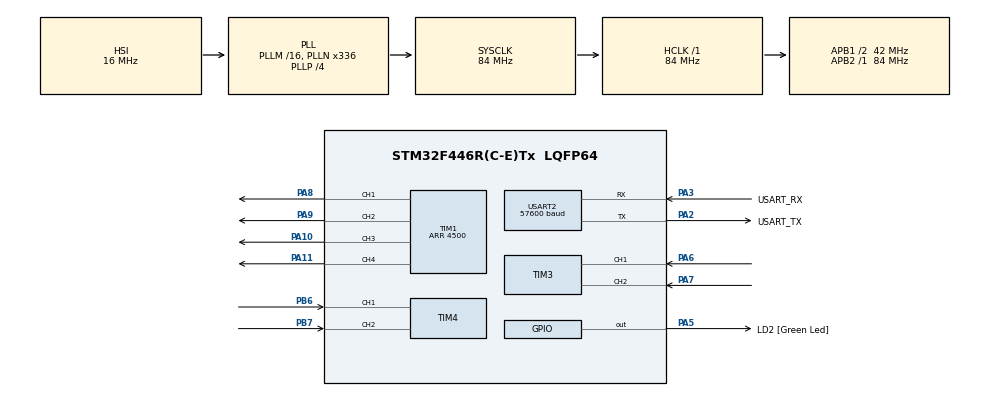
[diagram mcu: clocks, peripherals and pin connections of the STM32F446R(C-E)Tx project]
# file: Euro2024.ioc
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Dma.Request0=USART2_RX
Dma.Request1=USART2_TX
Dma.USART2_RX.0.Direction=DMA_PERIPH_TO_MEMORY
Dma.USART2_RX.0.FIFOMode=DMA_FIFOMODE_DISABLE
Dma.USART2_RX.0.Instance=DMA1_Stream5
Dma.USART2_RX.0.MemDataAlignment=DMA_MDATAALIGN_BYTE
Dma.USART2_RX.0.MemInc=DMA_MINC_ENABLE
Dma.USART2_RX.0.Mode=DMA_CIRCULAR
Dma.USART2_RX.0.PeriphDataAlignment=DMA_PDATAALIGN_BYTE
Dma.USART2_RX.0.PeriphInc=DMA_PINC_DISABLE
Dma.USART2_RX.0.Priority=DMA_PRIORITY_HIGH
Dma.USART2_TX.1.Direction=DMA_MEMORY_TO_PERIPH
Dma.USART2_TX.1.FIFOMode=DMA_FIFOMODE_DISABLE
Dma.USART2_TX.1.Instance=DMA1_Stream6
Dma.USART2_TX.1.MemDataAlignment=DMA_MDATAALIGN_BYTE
Dma.USART2_TX.1.MemInc=DMA_MINC_ENABLE
Dma.USART2_TX.1.Mode=DMA_NORMAL
Dma.USART2_TX.1.PeriphDataAlignment=DMA_PDATAALIGN_BYTE
Dma.USART2_TX.1.PeriphInc=DMA_PINC_DISABLE
Dma.USART2_TX.1.Priority=DMA_PRIORITY_HIGH
Mcu.Family=STM32F4
Mcu.Name=STM32F446R(C-E)Tx
Mcu.Package=LQFP64
NVIC.DMA1_Stream5_IRQn=true\:0\:0\:false\:false\:true\:false\:true\:true
NVIC.DMA1_Stream6_IRQn=true\:0\:0\:false\:false\:true\:false\:true\:true
NVIC.PriorityGroup=NVIC_PRIORITYGROUP_0
NVIC.TIM7_IRQn=true\:0\:0\:false\:false\:true\:true\:true\:true
NVIC.USART2_IRQn=true\:0\:0\:false\:false\:true\:true\:true\:true
PA10.Signal=S_TIM1_CH3
PA11.Signal=S_TIM1_CH4
PA13.GPIO_Label=TMS
PA13.Mode=Serial_Wire
PA13.Signal=SYS_JTMS-SWDIO
PA14.GPIO_Label=TCK
PA14.Mode=Serial_Wire
PA14.Signal=SYS_JTCK-SWCLK
PA2.GPIO_Label=USART_TX
PA2.Mode=Asynchronous
PA2.Signal=USART2_TX
PA3.GPIO_Label=USART_RX
PA3.Mode=Asynchronous
PA3.Signal=USART2_RX
PA5.GPIO_Label=LD2 [Green Led]
PA5.Signal=GPIO_Output
PA6.GPIO_PuPd=GPIO_PULLUP
PA6.Signal=S_TIM3_CH1
PA7.GPIO_PuPd=GPIO_PULLUP
PA7.Signal=S_TIM3_CH2
PA8.Signal=S_TIM1_CH1
PA9.Signal=S_TIM1_CH2
PB3.GPIO_Label=SWO
PB3.Signal=SYS_JTDO-SWO
PB6.GPIO_PuPd=GPIO_PULLUP
PB6.Signal=S_TIM4_CH1
PB7.GPIO_PuPd=GPIO_PULLUP
PB7.Signal=S_TIM4_CH2
ProjectManager.HeapSize=0x200
ProjectManager.StackSize=0x400
ProjectManager.TargetToolchain=STM32CubeIDE
RCC.48MHZClocksFreq_Value=84000000
RCC.AHBFreq_Value=84000000
RCC.APB1CLKDivider=RCC_HCLK_DIV2
RCC.APB1Freq_Value=42000000
RCC.APB1TimFreq_Value=84000000
RCC.APB2Freq_Value=84000000
RCC.APB2TimFreq_Value=84000000
RCC.CortexFreq_Value=84000000
RCC.FLatency-AdvancedSettings=FLASH_LATENCY_2
RCC.HCLKFreq_Value=84000000
RCC.HSE_VALUE=8000000
RCC.HSI_VALUE=16000000
RCC.PLLN=336
RCC.PLLP=RCC_PLLP_DIV4
RCC.SYSCLKFreq_VALUE=84000000
RCC.SYSCLKSource=RCC_SYSCLKSOURCE_PLLCLK
RCC.USBFreq_Value=168000000
RCC.VCOOutputFreq_Value=336000000
SH.S_TIM1_CH1.0=TIM1_CH1,PWM Generation1 CH1
SH.S_TIM1_CH2.0=TIM1_CH2,PWM Generation2 CH2
SH.S_TIM1_CH3.0=TIM1_CH3,PWM Generation3 CH3
SH.S_TIM1_CH4.0=TIM1_CH4,PWM Generation4 CH4
SH.S_TIM3_CH1.0=TIM3_CH1,Encoder_Interface
SH.S_TIM3_CH2.0=TIM3_CH2,Encoder_Interface
SH.S_TIM4_CH1.0=TIM4_CH1,Encoder_Interface
SH.S_TIM4_CH2.0=TIM4_CH2,Encoder_Interface
TIM1.Channel-PWM\ Generation1\ CH1=TIM_CHANNEL_1
TIM1.Channel-PWM\ Generation2\ CH2=TIM_CHANNEL_2
TIM1.Channel-PWM\ Generation3\ CH3=TIM_CHANNEL_3
TIM1.Channel-PWM\ Generation4\ CH4=TIM_CHANNEL_4
TIM1.Period=4500
TIM3.EncoderMode=TIM_ENCODERMODE_TI12
TIM4.EncoderMode=TIM_ENCODERMODE_TI12
TIM7.Period=999
TIM7.Prescaler=83
USART2.BaudRate=57600
USART2.VirtualMode=VM_ASYNC
VP_TIM1_VS_ClockSourceINT.Mode=Internal
VP_TIM7_VS_ClockSourceINT.Mode=Enable_Timer
board=NUCLEO-F446RE

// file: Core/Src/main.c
/* USER CODE BEGIN Header */
/**
  ******************************************************************************
  * @file           : main.c
  * @brief          : Main program body
  ******************************************************************************
  * @attention
  *
  * Copyright (c) 2024 STMicroelectronics.
  * All rights reserved.
  *
  * This software is licensed under terms that can be found in the LICENSE file
  * in the root directory of this software component.
  * If no LICENSE file comes with this software, it is provided AS-IS.
  *
  ******************************************************************************
  */
/* USER CODE END Header */
#include "main.h"

/* USER CODE BEGIN Includes */
#include "Odometry.h"
#include "Robot_Navi_Euro20.h"
#include "Motors.h"
#include <stdbool.h>
#include "stmRos.h"

extern int sum;
extern bool evitementFlag;
extern volatile float current_x;
extern volatile float current_y;
extern volatile float left_radius,right_radius,spacing_encoder,spacing_wheel;

extern float** matrix;
int taille;
extern float Vx;
extern float Vz;
float PWMR,PWML,PWM_linear,PWM_angular;
int PWM;
int PWM_Min=950;
extern uint32_t right_forward;
extern uint32_t right_backward;
extern uint32_t left_forward;
extern uint32_t left_backward;
extern TIM_HandleTypeDef* htim_Motors;

extern int right_correction,left_correction;
extern volatile float total_right,d_right_counter;
extern volatile float total_left,d_left_counter,total_centre;
extern int PWM_LB,PWM_RB;
extern int coef_correct_dist;
extern volatile long total_right_count;
extern volatile long total_left_count;
extern float test;

extern volatile float spacing_wheel;

double right_error1=0;
double i_right_error1=0;
double left_error1=0;
double i_left_error1=0;

extern float kp, ki;
float kpros=2, kiros=0;
extern volatile double left_speed,left_encoder_speed;
extern volatile double right_speed,right_encoder_speed;
extern volatile long t;
unsigned long long int delta=0,t0=0;
extern int PWM_L,PWM_R;
extern int i ;
extern char buf[64];

extern double v_rx ;
extern double omega_r ;

/* USER CODE END Includes */

TIM_HandleTypeDef htim1;
TIM_HandleTypeDef htim3;
TIM_HandleTypeDef htim4;
TIM_HandleTypeDef htim7;

UART_HandleTypeDef huart2;
DMA_HandleTypeDef hdma_usart2_rx;
DMA_HandleTypeDef hdma_usart2_tx;

void SystemClock_Config(void);
static void MX_GPIO_Init(void);
static void MX_DMA_Init(void);
static void MX_USART2_UART_Init(void);
static void MX_TIM1_Init(void);
static void MX_TIM3_Init(void);
static void MX_TIM4_Init(void);
static void MX_TIM7_Init(void);

int main(void)
{

  /* MCU Configuration--------------------------------------------------------*/

  /* Reset of all peripherals, Initializes the Flash interface and the Systick. */
  HAL_Init();

  /* Configure the system clock */
  SystemClock_Config();

  /* Initialize all configured peripherals */
  MX_GPIO_Init();
  MX_DMA_Init();
  MX_USART2_UART_Init();
  MX_TIM1_Init();
  MX_TIM3_Init();
  MX_TIM4_Init();
  MX_TIM7_Init();
  /* USER CODE BEGIN 2 */

  set_dimentions(40.58023,40.3802,252.5,131);//40.36836,40.59922,246,108.45 ROBOT SGHIR //40.36836,40.59922,265,120.2 ROBOT PRINCIPAL
         set_motors(&htim1,4499,TIM_CHANNEL_1,TIM_CHANNEL_2,TIM_CHANNEL_4,TIM_CHANNEL_3);
         set_right_encoder(&htim3,TIM3,400,4,1);//400 ROBOT KBIR
         set_left_encoder(&htim4,TIM4,400,4,-1);
         HAL_TIM_Base_Start_IT(&htim7);
         set_PWM_min (900,900,900,900);

         setup();

   /*  PWM_L=1000;
     PWM_R=1000;

     run_motors();

HAL_Delay(5000);
stop_motors();
*/
      /*   HAL_Delay(2000);
         move_distance(500, 300);
         HAL_Delay(1000);
         move_distance(-500, 300);
*/
  /* USER CODE END 2 */

  /* Infinite loop */
  while (1)
  {
		 loop();
  }
}

void SystemClock_Config(void)
{
  RCC_OscInitTypeDef RCC_OscInitStruct = {0};
  RCC_ClkInitTypeDef RCC_ClkInitStruct = {0};

  /** Configure the main internal regulator output voltage
  */
  __HAL_RCC_PWR_CLK_ENABLE();
  __HAL_PWR_VOLTAGESCALING_CONFIG(PWR_REGULATOR_VOLTAGE_SCALE3);

  /** Initializes the RCC Oscillators according to the specified parameters
  * in the RCC_OscInitTypeDef structure.
  */
  RCC_OscInitStruct.OscillatorType = RCC_OSCILLATORTYPE_HSI;
  RCC_OscInitStruct.HSIState = RCC_HSI_ON;
  RCC_OscInitStruct.HSICalibrationValue = RCC_HSICALIBRATION_DEFAULT;
  RCC_OscInitStruct.PLL.PLLState = RCC_PLL_ON;
  RCC_OscInitStruct.PLL.PLLSource = RCC_PLLSOURCE_HSI;
  RCC_OscInitStruct.PLL.PLLM = 16;
  RCC_OscInitStruct.PLL.PLLN = 336;
  RCC_OscInitStruct.PLL.PLLP = RCC_PLLP_DIV4;
  RCC_OscInitStruct.PLL.PLLQ = 2;
  RCC_OscInitStruct.PLL.PLLR = 2;
  if (HAL_RCC_OscConfig(&RCC_OscInitStruct) != HAL_OK)
  {
    Error_Handler();
  }

  /** Initializes the CPU, AHB and APB buses clocks
  */
  RCC_ClkInitStruct.ClockType = RCC_CLOCKTYPE_HCLK|RCC_CLOCKTYPE_SYSCLK
                              |RCC_CLOCKTYPE_PCLK1|RCC_CLOCKTYPE_PCLK2;
  RCC_ClkInitStruct.SYSCLKSource = RCC_SYSCLKSOURCE_PLLCLK;
  RCC_ClkInitStruct.AHBCLKDivider = RCC_SYSCLK_DIV1;
  RCC_ClkInitStruct.APB1CLKDivider = RCC_HCLK_DIV2;
  RCC_ClkInitStruct.APB2CLKDivider = RCC_HCLK_DIV1;

  if (HAL_RCC_ClockConfig(&RCC_ClkInitStruct, FLASH_LATENCY_2) != HAL_OK)
  {
    Error_Handler();
  }
}

static void MX_TIM1_Init(void)
{

  TIM_ClockConfigTypeDef sClockSourceConfig = {0};
  TIM_MasterConfigTypeDef sMasterConfig = {0};
  TIM_OC_InitTypeDef sConfigOC = {0};
  TIM_BreakDeadTimeConfigTypeDef sBreakDeadTimeConfig = {0};

  htim1.Instance = TIM1;
  htim1.Init.Prescaler = 0;
  htim1.Init.CounterMode = TIM_COUNTERMODE_UP;
  htim1.Init.Period = 4500;
  htim1.Init.ClockDivision = TIM_CLOCKDIVISION_DIV1;
  htim1.Init.RepetitionCounter = 0;
  htim1.Init.AutoReloadPreload = TIM_AUTORELOAD_PRELOAD_DISABLE;
  if (HAL_TIM_Base_Init(&htim1) != HAL_OK)
  {
    Error_Handler();
  }
  sClockSourceConfig.ClockSource = TIM_CLOCKSOURCE_INTERNAL;
  if (HAL_TIM_ConfigClockSource(&htim1, &sClockSourceConfig) != HAL_OK)
  {
    Error_Handler();
  }
  if (HAL_TIM_PWM_Init(&htim1) != HAL_OK)
  {
    Error_Handler();
  }
  sMasterConfig.MasterOutputTrigger = TIM_TRGO_RESET;
  sMasterConfig.MasterSlaveMode = TIM_MASTERSLAVEMODE_DISABLE;
  if (HAL_TIMEx_MasterConfigSynchronization(&htim1, &sMasterConfig) != HAL_OK)
  {
    Error_Handler();
  }
  sConfigOC.OCMode = TIM_OCMODE_PWM1;
  sConfigOC.Pulse = 0;
  sConfigOC.OCPolarity = TIM_OCPOLARITY_HIGH;
  sConfigOC.OCNPolarity = TIM_OCNPOLARITY_HIGH;
  sConfigOC.OCFastMode = TIM_OCFAST_DISABLE;
  sConfigOC.OCIdleState = TIM_OCIDLESTATE_RESET;
  sConfigOC.OCNIdleState = TIM_OCNIDLESTATE_RESET;
  if (HAL_TIM_PWM_ConfigChannel(&htim1, &sConfigOC, TIM_CHANNEL_1) != HAL_OK)
  {
    Error_Handler();
  }
  if (HAL_TIM_PWM_ConfigChannel(&htim1, &sConfigOC, TIM_CHANNEL_2) != HAL_OK)
  {
    Error_Handler();
  }
  if (HAL_TIM_PWM_ConfigChannel(&htim1, &sConfigOC, TIM_CHANNEL_3) != HAL_OK)
  {
    Error_Handler();
  }
  if (HAL_TIM_PWM_ConfigChannel(&htim1, &sConfigOC, TIM_CHANNEL_4) != HAL_OK)
  {
    Error_Handler();
  }
  sBreakDeadTimeConfig.OffStateRunMode = TIM_OSSR_DISABLE;
  sBreakDeadTimeConfig.OffStateIDLEMode = TIM_OSSI_DISABLE;
  sBreakDeadTimeConfig.LockLevel = TIM_LOCKLEVEL_OFF;
  sBreakDeadTimeConfig.DeadTime = 0;
  sBreakDeadTimeConfig.BreakState = TIM_BREAK_DISABLE;
  sBreakDeadTimeConfig.BreakPolarity = TIM_BREAKPOLARITY_HIGH;
  sBreakDeadTimeConfig.AutomaticOutput = TIM_AUTOMATICOUTPUT_DISABLE;
  if (HAL_TIMEx_ConfigBreakDeadTime(&htim1, &sBreakDeadTimeConfig) != HAL_OK)
  {
    Error_Handler();
  }
  HAL_TIM_MspPostInit(&htim1);

}

static void MX_TIM3_Init(void)
{

  TIM_Encoder_InitTypeDef sConfig = {0};
  TIM_MasterConfigTypeDef sMasterConfig = {0};

  htim3.Instance = TIM3;
  htim3.Init.Prescaler = 0;
  htim3.Init.CounterMode = TIM_COUNTERMODE_UP;
  htim3.Init.Period = 65535;
  htim3.Init.ClockDivision = TIM_CLOCKDIVISION_DIV1;
  htim3.Init.AutoReloadPreload = TIM_AUTORELOAD_PRELOAD_DISABLE;
  sConfig.EncoderMode = TIM_ENCODERMODE_TI12;
  sConfig.IC1Polarity = TIM_ICPOLARITY_RISING;
  sConfig.IC1Selection = TIM_ICSELECTION_DIRECTTI;
  sConfig.IC1Prescaler = TIM_ICPSC_DIV1;
  sConfig.IC1Filter = 0;
  sConfig.IC2Polarity = TIM_ICPOLARITY_RISING;
  sConfig.IC2Selection = TIM_ICSELECTION_DIRECTTI;
  sConfig.IC2Prescaler = TIM_ICPSC_DIV1;
  sConfig.IC2Filter = 0;
  if (HAL_TIM_Encoder_Init(&htim3, &sConfig) != HAL_OK)
  {
    Error_Handler();
  }
  sMasterConfig.MasterOutputTrigger = TIM_TRGO_RESET;
  sMasterConfig.MasterSlaveMode = TIM_MASTERSLAVEMODE_DISABLE;
  if (HAL_TIMEx_MasterConfigSynchronization(&htim3, &sMasterConfig) != HAL_OK)
  {
    Error_Handler();
  }

}

static void MX_TIM4_Init(void)
{

  TIM_Encoder_InitTypeDef sConfig = {0};
  TIM_MasterConfigTypeDef sMasterConfig = {0};

  htim4.Instance = TIM4;
  htim4.Init.Prescaler = 0;
  htim4.Init.CounterMode = TIM_COUNTERMODE_UP;
  htim4.Init.Period = 65535;
  htim4.Init.ClockDivision = TIM_CLOCKDIVISION_DIV1;
  htim4.Init.AutoReloadPreload = TIM_AUTORELOAD_PRELOAD_DISABLE;
  sConfig.EncoderMode = TIM_ENCODERMODE_TI12;
  sConfig.IC1Polarity = TIM_ICPOLARITY_RISING;
  sConfig.IC1Selection = TIM_ICSELECTION_DIRECTTI;
  sConfig.IC1Prescaler = TIM_ICPSC_DIV1;
  sConfig.IC1Filter = 0;
  sConfig.IC2Polarity = TIM_ICPOLARITY_RISING;
  sConfig.IC2Selection = TIM_ICSELECTION_DIRECTTI;
  sConfig.IC2Prescaler = TIM_ICPSC_DIV1;
  sConfig.IC2Filter = 0;
  if (HAL_TIM_Encoder_Init(&htim4, &sConfig) != HAL_OK)
  {
    Error_Handler();
  }
  sMasterConfig.MasterOutputTrigger = TIM_TRGO_RESET;
  sMasterConfig.MasterSlaveMode = TIM_MASTERSLAVEMODE_DISABLE;
  if (HAL_TIMEx_MasterConfigSynchronization(&htim4, &sMasterConfig) != HAL_OK)
  {
    Error_Handler();
  }

}

static void MX_TIM7_Init(void)
{

  TIM_MasterConfigTypeDef sMasterConfig = {0};

  htim7.Instance = TIM7;
  htim7.Init.Prescaler = 83;
  htim7.Init.CounterMode = TIM_COUNTERMODE_UP;
  htim7.Init.Period = 999;
  htim7.Init.AutoReloadPreload = TIM_AUTORELOAD_PRELOAD_DISABLE;
  if (HAL_TIM_Base_Init(&htim7) != HAL_OK)
  {
    Error_Handler();
  }
  sMasterConfig.MasterOutputTrigger = TIM_TRGO_RESET;
  sMasterConfig.MasterSlaveMode = TIM_MASTERSLAVEMODE_DISABLE;
  if (HAL_TIMEx_MasterConfigSynchronization(&htim7, &sMasterConfig) != HAL_OK)
  {
    Error_Handler();
  }

}

static void MX_USART2_UART_Init(void)
{

  huart2.Instance = USART2;
  huart2.Init.BaudRate = 57600;
  huart2.Init.WordLength = UART_WORDLENGTH_8B;
  huart2.Init.StopBits = UART_STOPBITS_1;
  huart2.Init.Parity = UART_PARITY_NONE;
  huart2.Init.Mode = UART_MODE_TX_RX;
  huart2.Init.HwFlowCtl = UART_HWCONTROL_NONE;
  huart2.Init.OverSampling = UART_OVERSAMPLING_16;
  if (HAL_UART_Init(&huart2) != HAL_OK)
  {
    Error_Handler();
  }

}

static void MX_DMA_Init(void)
{

  /* DMA controller clock enable */
  __HAL_RCC_DMA1_CLK_ENABLE();

  /* DMA interrupt init */
  /* DMA1_Stream5_IRQn interrupt configuration */
  HAL_NVIC_SetPriority(DMA1_Stream5_IRQn, 0, 0);
  HAL_NVIC_EnableIRQ(DMA1_Stream5_IRQn);
  /* DMA1_Stream6_IRQn interrupt configuration */
  HAL_NVIC_SetPriority(DMA1_Stream6_IRQn, 0, 0);
  HAL_NVIC_EnableIRQ(DMA1_Stream6_IRQn);

}

static void MX_GPIO_Init(void)
{
  GPIO_InitTypeDef GPIO_InitStruct = {0};

  /* GPIO Ports Clock Enable */
  __HAL_RCC_GPIOA_CLK_ENABLE();
  __HAL_RCC_GPIOB_CLK_ENABLE();

  /*Configure GPIO pin Output Level */
  HAL_GPIO_WritePin(LD2_GPIO_Port, LD2_Pin, GPIO_PIN_RESET);

  /*Configure GPIO pin : LD2_Pin */
  GPIO_InitStruct.Pin = LD2_Pin;
  GPIO_InitStruct.Mode = GPIO_MODE_OUTPUT_PP;
  GPIO_InitStruct.Pull = GPIO_NOPULL;
  GPIO_InitStruct.Speed = GPIO_SPEED_FREQ_LOW;
  HAL_GPIO_Init(LD2_GPIO_Port, &GPIO_InitStruct);

}

/* USER CODE BEGIN 4 */
extern volatile long t;
void HAL_TIM_PeriodElapsedCallback(TIM_HandleTypeDef *htim)
{
	if (htim->Instance==TIM7) //check if the interrupt comes from TIM7
	{
		update_position();
		PWM_sign_change_counter();
		if (t%T == 0){
//				loop();
			speed_calcul();

		}

	}
}
/* USER CODE END 4 */

void Error_Handler(void)
{
  __disable_irq();
  while (1)
  {
  }
}
